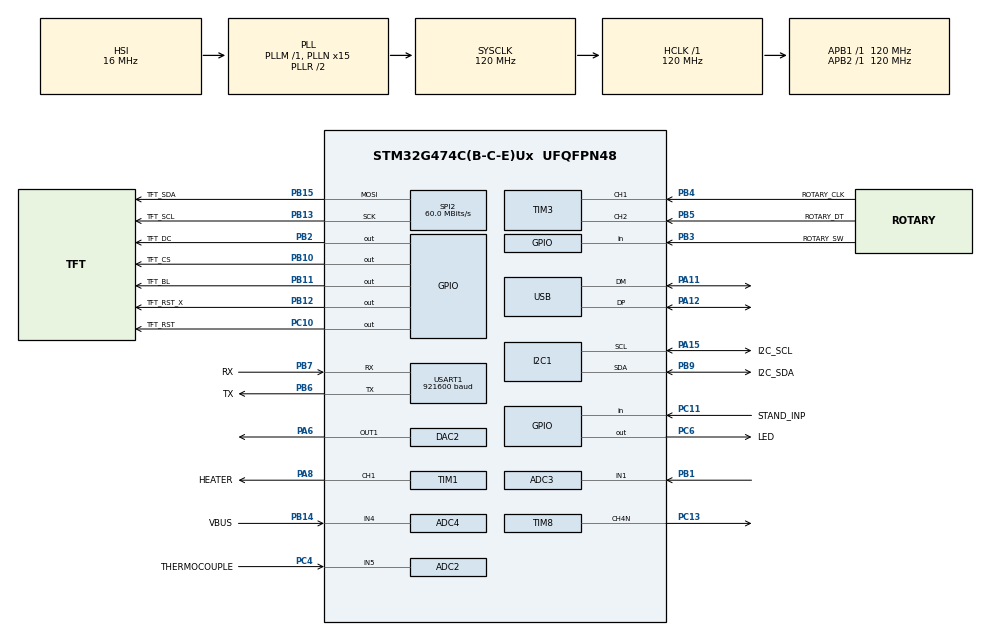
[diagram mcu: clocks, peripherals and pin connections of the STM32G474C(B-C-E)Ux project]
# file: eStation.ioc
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ADC1.Channel-1\#ChannelRegularConversion=ADC_CHANNEL_TEMPSENSOR_ADC1
ADC1.ClockPrescaler=ADC_CLOCK_SYNC_PCLK_DIV4
ADC1.ContinuousConvMode=ENABLE
ADC1.NbrOfConversionFlag=1
ADC1.OffsetNumber-1\#ChannelRegularConversion=ADC_OFFSET_NONE
ADC1.Rank-1\#ChannelRegularConversion=1
ADC1.SamplingTime-1\#ChannelRegularConversion=ADC_SAMPLETIME_2CYCLES_5
ADC1.master=1
ADC2.Channel-1\#ChannelRegularConversion=ADC_CHANNEL_5
ADC2.ClockPrescaler=ADC_CLOCK_SYNC_PCLK_DIV4
ADC2.DMAContinuousRequests=ENABLE
ADC2.ExternalTrigConv=ADC_EXTERNALTRIG_T1_TRGO
ADC2.NbrOfConversionFlag=1
ADC2.OffsetNumber-1\#ChannelRegularConversion=ADC_OFFSET_NONE
ADC2.OversamplingMode=ENABLE
ADC2.OversamplingStopReset=ADC_REGOVERSAMPLING_RESUMED_MODE
ADC2.Rank-1\#ChannelRegularConversion=1
ADC2.Ratio=ADC_OVERSAMPLING_RATIO_16
ADC2.RightBitShift=ADC_RIGHTBITSHIFT_4
ADC2.SamplingTime-1\#ChannelRegularConversion=ADC_SAMPLETIME_247CYCLES_5
ADC3.Channel-1\#ChannelRegularConversion=ADC_CHANNEL_1
ADC3.ClockPrescaler=ADC_CLOCK_SYNC_PCLK_DIV4
ADC3.ContinuousConvMode=ENABLE
ADC3.DMAContinuousRequests=ENABLE
ADC3.NbrOfConversion=1
ADC3.NbrOfConversionFlag=1
ADC3.OffsetNumber-1\#ChannelRegularConversion=ADC_OFFSET_NONE
ADC3.Overrun=ADC_OVR_DATA_OVERWRITTEN
ADC3.OversamplingMode=ENABLE
ADC3.Rank-1\#ChannelRegularConversion=1
ADC3.Ratio=ADC_OVERSAMPLING_RATIO_256
ADC3.RightBitShift=ADC_RIGHTBITSHIFT_8
ADC3.SamplingTime-1\#ChannelRegularConversion=ADC_SAMPLETIME_640CYCLES_5
ADC3.master=1
ADC4.Channel-0\#ChannelRegularConversion=ADC_CHANNEL_4
ADC4.ClockPrescaler=ADC_CLOCK_SYNC_PCLK_DIV4
ADC4.DMAContinuousRequests=ENABLE
ADC4.ExternalTrigConv=ADC_EXTERNALTRIG_T1_TRGO
ADC4.NbrOfConversion=1
ADC4.NbrOfConversionFlag=1
ADC4.OffsetNumber-0\#ChannelRegularConversion=ADC_OFFSET_NONE
ADC4.OversamplingMode=ENABLE
ADC4.Rank-0\#ChannelRegularConversion=1
ADC4.Ratio=ADC_OVERSAMPLING_RATIO_16
ADC4.RightBitShift=ADC_RIGHTBITSHIFT_4
ADC4.SamplingTime-0\#ChannelRegularConversion=ADC_SAMPLETIME_247CYCLES_5
DAC2.DAC_UserTrimming-DAC_OUT1_ExtAndInt=DAC_TRIMMING_USER
Dma.ADC2.1.Direction=DMA_PERIPH_TO_MEMORY
Dma.ADC2.1.EventEnable=DISABLE
Dma.ADC2.1.Instance=DMA1_Channel2
Dma.ADC2.1.MemDataAlignment=DMA_MDATAALIGN_HALFWORD
Dma.ADC2.1.MemInc=DMA_MINC_ENABLE
Dma.ADC2.1.Mode=DMA_CIRCULAR
Dma.ADC2.1.PeriphDataAlignment=DMA_PDATAALIGN_HALFWORD
Dma.ADC2.1.PeriphInc=DMA_PINC_DISABLE
Dma.ADC2.1.Polarity=HAL_DMAMUX_REQ_GEN_RISING
Dma.ADC2.1.Priority=DMA_PRIORITY_LOW
Dma.ADC2.1.RequestNumber=1
Dma.ADC2.1.SignalID=NONE
Dma.ADC2.1.SyncEnable=DISABLE
Dma.ADC2.1.SyncPolarity=HAL_DMAMUX_SYNC_NO_EVENT
Dma.ADC2.1.SyncRequestNumber=1
Dma.ADC2.1.SyncSignalID=NONE
Dma.ADC3.2.Direction=DMA_PERIPH_TO_MEMORY
Dma.ADC3.2.EventEnable=DISABLE
Dma.ADC3.2.Instance=DMA1_Channel3
Dma.ADC3.2.MemDataAlignment=DMA_MDATAALIGN_HALFWORD
Dma.ADC3.2.MemInc=DMA_MINC_ENABLE
Dma.ADC3.2.Mode=DMA_CIRCULAR
Dma.ADC3.2.PeriphDataAlignment=DMA_PDATAALIGN_HALFWORD
Dma.ADC3.2.PeriphInc=DMA_PINC_DISABLE
Dma.ADC3.2.Polarity=HAL_DMAMUX_REQ_GEN_RISING
Dma.ADC3.2.Priority=DMA_PRIORITY_MEDIUM
Dma.ADC3.2.RequestNumber=1
Dma.ADC3.2.SignalID=NONE
Dma.ADC3.2.SyncEnable=DISABLE
Dma.ADC3.2.SyncPolarity=HAL_DMAMUX_SYNC_NO_EVENT
Dma.ADC3.2.SyncRequestNumber=1
Dma.ADC3.2.SyncSignalID=NONE
Dma.ADC4.3.Direction=DMA_PERIPH_TO_MEMORY
Dma.ADC4.3.EventEnable=DISABLE
Dma.ADC4.3.Instance=DMA1_Channel4
Dma.ADC4.3.MemDataAlignment=DMA_MDATAALIGN_HALFWORD
Dma.ADC4.3.MemInc=DMA_MINC_ENABLE
Dma.ADC4.3.Mode=DMA_CIRCULAR
Dma.ADC4.3.PeriphDataAlignment=DMA_PDATAALIGN_HALFWORD
Dma.ADC4.3.PeriphInc=DMA_PINC_DISABLE
Dma.ADC4.3.Polarity=HAL_DMAMUX_REQ_GEN_RISING
Dma.ADC4.3.Priority=DMA_PRIORITY_LOW
Dma.ADC4.3.RequestNumber=1
Dma.ADC4.3.SignalID=NONE
Dma.ADC4.3.SyncEnable=DISABLE
Dma.ADC4.3.SyncPolarity=HAL_DMAMUX_SYNC_NO_EVENT
Dma.ADC4.3.SyncRequestNumber=1
Dma.ADC4.3.SyncSignalID=NONE
Dma.Request0=SPI2_TX
Dma.Request1=ADC2
Dma.Request2=ADC3
Dma.Request3=ADC4
Dma.SPI2_TX.0.Direction=DMA_MEMORY_TO_PERIPH
Dma.SPI2_TX.0.EventEnable=DISABLE
Dma.SPI2_TX.0.Instance=DMA1_Channel1
Dma.SPI2_TX.0.MemDataAlignment=DMA_MDATAALIGN_BYTE
Dma.SPI2_TX.0.MemInc=DMA_MINC_ENABLE
Dma.SPI2_TX.0.Mode=DMA_NORMAL
Dma.SPI2_TX.0.PeriphDataAlignment=DMA_PDATAALIGN_BYTE
Dma.SPI2_TX.0.PeriphInc=DMA_PINC_DISABLE
Dma.SPI2_TX.0.Polarity=HAL_DMAMUX_REQ_GEN_RISING
Dma.SPI2_TX.0.Priority=DMA_PRIORITY_VERY_HIGH
Dma.SPI2_TX.0.RequestNumber=1
Dma.SPI2_TX.0.SignalID=NONE
Dma.SPI2_TX.0.SyncEnable=DISABLE
Dma.SPI2_TX.0.SyncPolarity=HAL_DMAMUX_SYNC_NO_EVENT
Dma.SPI2_TX.0.SyncRequestNumber=1
Dma.SPI2_TX.0.SyncSignalID=NONE
I2C1.Timing=0x30A175AB
Mcu.Family=STM32G4
Mcu.Name=STM32G474C(B-C-E)Ux
Mcu.Package=UFQFPN48
NVIC.DMA1_Channel1_IRQn=true\:5\:0\:true\:false\:true\:false\:true\:true
NVIC.DMA1_Channel2_IRQn=true\:0\:0\:false\:false\:true\:false\:true\:true
NVIC.DMA1_Channel3_IRQn=true\:0\:0\:false\:false\:true\:false\:true\:true
NVIC.DMA1_Channel4_IRQn=true\:0\:0\:false\:false\:true\:false\:true\:true
NVIC.PriorityGroup=NVIC_PRIORITYGROUP_4
NVIC.SPI2_IRQn=true\:5\:0\:true\:false\:true\:true\:true\:true
NVIC.TIM1_TRG_COM_TIM17_IRQn=true\:0\:0\:false\:false\:true\:true\:true\:true
NVIC.TIM1_UP_TIM16_IRQn=true\:0\:0\:false\:false\:true\:true\:true\:true
NVIC.TIM6_DAC_IRQn=true\:0\:0\:false\:false\:true\:true\:true\:true
NVIC.USB_LP_IRQn=true\:7\:0\:true\:false\:true\:false\:true\:true
PA11.Mode=Device
PA11.Signal=USB_DM
PA12.Mode=Device
PA12.Signal=USB_DP
PA15.GPIO_Label=I2C_SCL
PA15.Mode=I2C
PA15.Signal=I2C1_SCL
PA6.Signal=COMP_DAC21_group
PA8.GPIO_Label=HEATER
PA8.GPIO_PuPd=GPIO_PULLDOWN
PA8.Signal=S_TIM1_CH1
PB1.GPIO_Mode=GPIO_MODE_ANALOG
PB1.GPIO_Pd=GPIO_NOPULL
PB1.Mode=IN1-Single-Ended
PB1.Signal=ADC3_IN1
PB10.GPIO_Label=TFT_CS
PB10.GPIO_Speed=GPIO_SPEED_FREQ_VERY_HIGH
PB10.Signal=GPIO_Output
PB11.GPIO_Label=TFT_BL
PB11.GPIO_Speed=GPIO_SPEED_FREQ_VERY_HIGH
PB11.PinState=GPIO_PIN_SET
PB11.Signal=GPIO_Output
PB12.GPIO_Label=TFT_RST_X
PB12.GPIO_Speed=GPIO_SPEED_FREQ_VERY_HIGH
PB12.Signal=GPIO_Output
PB13.GPIO_Label=TFT_SCL
PB13.GPIO_Speed=GPIO_SPEED_FREQ_VERY_HIGH
PB13.Mode=TX_Only_Simplex_Unidirect_Master
PB13.Signal=SPI2_SCK
PB14.GPIO_Label=VBUS
PB14.Mode=IN4-Single-Ended
PB14.Signal=ADC4_IN4
PB15.GPIO_Label=TFT_SDA
PB15.GPIO_Speed=GPIO_SPEED_FREQ_VERY_HIGH
PB15.Mode=TX_Only_Simplex_Unidirect_Master
PB15.Signal=SPI2_MOSI
PB2.GPIO_Label=TFT_DC
PB2.GPIO_Speed=GPIO_SPEED_FREQ_VERY_HIGH
PB2.Signal=GPIO_Output
PB3.GPIO_Label=ROTARY_SW
PB3.Signal=GPIO_Input
PB4.GPIO_Label=ROTARY_CLK
PB4.Signal=S_TIM3_CH1
PB5.GPIO_Label=ROTARY_DT
PB5.Signal=S_TIM3_CH2
PB6.GPIO_Label=TX
PB6.Mode=Asynchronous
PB6.Signal=USART1_TX
PB7.GPIO_Label=RX
PB7.Mode=Asynchronous
PB7.Signal=USART1_RX
PB9.GPIO_Label=I2C_SDA
PB9.Mode=I2C
PB9.Signal=I2C1_SDA
PC10.GPIO_Label=TFT_RST
PC10.GPIO_Speed=GPIO_SPEED_FREQ_VERY_HIGH
PC10.Signal=GPIO_Output
PC11.GPIO_Label=STAND_INP
PC11.Signal=GPIO_Input
PC13.GPIO_PuPd=GPIO_PULLDOWN
PC13.Mode=PWM Generation4 CH4N
PC13.Signal=TIM8_CH4N
PC4.GPIO_Label=THERMOCOUPLE
PC4.GPIO_Mode=GPIO_MODE_ANALOG
PC4.GPIO_Pd=GPIO_NOPULL
PC4.Mode=IN5-Single-Ended
PC4.Signal=ADC2_IN5
PC6.GPIO_Label=LED
PC6.GPIO_PuPd=GPIO_PULLDOWN
PC6.Signal=GPIO_Output
ProjectManager.HeapSize=0x200
ProjectManager.StackSize=0x400
ProjectManager.TargetToolchain=STM32CubeIDE
RCC.ADC12Freq_Value=120000000
RCC.ADC345Freq_Value=120000000
RCC.AHBFreq_Value=120000000
RCC.APB1Freq_Value=120000000
RCC.APB1TimFreq_Value=120000000
RCC.APB2Freq_Value=120000000
RCC.APB2TimFreq_Value=120000000
RCC.CK48CLockSelection=RCC_USBCLKSOURCE_HSI48
RCC.CortexFreq_Value=120000000
RCC.EXTERNAL_CLOCK_VALUE=12288000
RCC.HCLKFreq_Value=120000000
RCC.HSE_VALUE=8000000
RCC.HSI48_VALUE=48000000
RCC.HSI_VALUE=16000000
RCC.LSE_VALUE=32768
RCC.PLLN=15
RCC.PLLQ=RCC_PLLQ_DIV4
RCC.SYSCLKFreq_VALUE=120000000
RCC.SYSCLKSource=RCC_SYSCLKSOURCE_PLLCLK
RCC.USBFreq_Value=48000000
RCC.VCOOutputFreq_Value=240000000
SH.COMP_DAC21_group.0=DAC2_OUT1,DAC_OUT1_ExtAndInt
SH.S_TIM1_CH1.0=TIM1_CH1,PWM Generation1 CH1
SH.S_TIM3_CH1.0=TIM3_CH1,Encoder_Interface
SH.S_TIM3_CH2.0=TIM3_CH2,Encoder_Interface
SPI2.BaudRatePrescaler=SPI_BAUDRATEPRESCALER_2
SPI2.CLKPhase=SPI_PHASE_1EDGE
SPI2.CLKPolarity=SPI_POLARITY_LOW
SPI2.CalculateBaudRate=60.0 MBits/s
SPI2.DataSize=SPI_DATASIZE_8BIT
SPI2.Direction=SPI_DIRECTION_2LINES
SPI2.Mode=SPI_MODE_MASTER
SPI2.VirtualType=VM_MASTER
TIM1.Channel-Output\ Compare2\ No\ Output=TIM_CHANNEL_2
TIM1.Channel-PWM\ Generation1\ CH1=TIM_CHANNEL_1
TIM1.Dithering=Disable
TIM1.OCFastMode_PWM-PWM\ Generation1\ CH1=TIM_OCFAST_ENABLE
TIM1.OCMode_2=TIM_OCMODE_TOGGLE
TIM1.OffStateIDLEMode=TIM_OSSI_ENABLE
TIM1.OffStateRunMode=TIM_OSSR_ENABLE
TIM1.PeriodNoDither=1999
TIM1.Prescaler=119
TIM1.PulseNoDither_2=1800
TIM1.TIM_MasterOutputTrigger=TIM_TRGO_OC2REF
TIM1.TIM_MasterSlaveMode=TIM_MASTERSLAVEMODE_ENABLE
TIM17.AutoReloadPreload=TIM_AUTORELOAD_PRELOAD_ENABLE
TIM17.PeriodNoDither=999
TIM17.Prescaler=11999
TIM3.EncoderMode=TIM_ENCODERMODE_TI1
TIM3.IC1Filter=15
TIM6.PeriodNoDither=999
TIM6.Prescaler=1199
TIM8.AutoReloadPreload=TIM_AUTORELOAD_PRELOAD_ENABLE
TIM8.Channel-PWM\ Generation4\ CH4N=TIM_CHANNEL_4
TIM8.PeriodNoDither=399
TIM8.Prescaler=119
TIM8.PulseNoDither_4=200
USART1.BaudRate=921600
USART1.VirtualMode-Asynchronous=VM_ASYNC
USB_DEVICE.CLASS_NAME_FS=CDC
USB_DEVICE.VirtualMode=Cdc
USB_DEVICE.VirtualModeFS=Cdc_FS
VP_ADC1_TempSens_Input.Mode=IN-TempSens
VP_CRC_VS_CRC.Mode=CRC_Activate
VP_RCC_VS_USB.Mode=USB_FS
VP_SYS_VS_DBSignals.Mode=DisableDeadBatterySignals
VP_TIM17_VS_ClockSourceINT.Mode=Enable_Timer
VP_TIM1_VS_ClockSourceINT.Mode=Internal
VP_TIM1_VS_no_output2.Mode=Output Compare2 No Output
VP_TIM6_VS_ClockSourceINT.Mode=Enable_Timer
VP_USB_DEVICE_VS_USB_DEVICE_CDC_FS.Mode=CDC_FS
board=custom

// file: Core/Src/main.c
/* USER CODE BEGIN Header */
/**
  ******************************************************************************
  * @file           : main.c
  * @brief          : Main program body
  ******************************************************************************
  * @attention
  *
  * Copyright (c) 2026 STMicroelectronics.
  * All rights reserved.
  *
  * This software is licensed under terms that can be found in the LICENSE file
  * in the root directory of this software component.
  * If no LICENSE file comes with this software, it is provided AS-IS.
  *
  ******************************************************************************
  */
/* USER CODE END Header */
#include "main.h"
#include "usb_device.h"

/* USER CODE BEGIN Includes */
#include "solder.h"
/* USER CODE END Includes */

ADC_HandleTypeDef hadc1;
ADC_HandleTypeDef hadc2;
ADC_HandleTypeDef hadc3;
ADC_HandleTypeDef hadc4;
DMA_HandleTypeDef hdma_adc2;
DMA_HandleTypeDef hdma_adc3;
DMA_HandleTypeDef hdma_adc4;

CRC_HandleTypeDef hcrc;

DAC_HandleTypeDef hdac2;

I2C_HandleTypeDef hi2c1;

SPI_HandleTypeDef hspi2;
DMA_HandleTypeDef hdma_spi2_tx;

TIM_HandleTypeDef htim1;
TIM_HandleTypeDef htim3;
TIM_HandleTypeDef htim6;
TIM_HandleTypeDef htim8;
TIM_HandleTypeDef htim17;

UART_HandleTypeDef huart1;

void SystemClock_Config(void);
static void MX_GPIO_Init(void);
static void MX_DMA_Init(void);
static void MX_SPI2_Init(void);
static void MX_TIM3_Init(void);
static void MX_ADC1_Init(void);
static void MX_I2C1_Init(void);
static void MX_USART1_UART_Init(void);
static void MX_CRC_Init(void);
static void MX_ADC2_Init(void);
static void MX_TIM6_Init(void);
static void MX_DAC2_Init(void);
static void MX_ADC3_Init(void);
static void MX_TIM17_Init(void);
static void MX_TIM1_Init(void);
static void MX_ADC4_Init(void);
static void MX_TIM8_Init(void);
/* USER CODE BEGIN PFP */
extern uint16_t ntc_adc_raw[1]; // Buffer cho DMA
/* USER CODE END PFP */

int main(void)
{

  /* USER CODE BEGIN 1 */
  __HAL_RCC_GPIOA_CLK_ENABLE();
  GPIO_InitTypeDef GPIO_InitStruct = {0};
  GPIO_InitStruct.Pin = GPIO_PIN_8;
  GPIO_InitStruct.Mode = GPIO_MODE_OUTPUT_PP;
  GPIO_InitStruct.Pull = GPIO_PULLDOWN;
  GPIO_InitStruct.Speed = GPIO_SPEED_FREQ_LOW;
  HAL_GPIO_Init(GPIOA, &GPIO_InitStruct);
  HAL_GPIO_WritePin(GPIOA, GPIO_PIN_8, GPIO_PIN_RESET); // Ép xuống 0V
  /* USER CODE END 1 */

  /* MCU Configuration--------------------------------------------------------*/

  /* Reset of all peripherals, Initializes the Flash interface and the Systick. */
  HAL_Init();

  /* Configure the system clock */
  SystemClock_Config();

  /* Initialize all configured peripherals */
  MX_GPIO_Init();
  MX_DMA_Init();
  MX_USB_Device_Init();
  MX_SPI2_Init();
  MX_TIM3_Init();
  MX_ADC1_Init();
  MX_I2C1_Init();
  MX_USART1_UART_Init();
  MX_CRC_Init();
  MX_ADC2_Init();
  MX_TIM6_Init();
  MX_DAC2_Init();
  MX_ADC3_Init();
  MX_TIM17_Init();
  MX_TIM1_Init();
  MX_ADC4_Init();
  MX_TIM8_Init();
  /* USER CODE BEGIN 2 */
  solder_init();

  /* USER CODE END 2 */

  /* Infinite loop */
  while (1)
  {

    /* USER CODE BEGIN 3 */
    heartbeat();

    solder_while1();

    HAL_Delay(1);
  }
  /* USER CODE END 3 */
}

void SystemClock_Config(void)
{
  RCC_OscInitTypeDef RCC_OscInitStruct = {0};
  RCC_ClkInitTypeDef RCC_ClkInitStruct = {0};
  RCC_CRSInitTypeDef pInit = {0};

  /** Configure the main internal regulator output voltage
  */
  HAL_PWREx_ControlVoltageScaling(PWR_REGULATOR_VOLTAGE_SCALE1);

  /** Initializes the RCC Oscillators according to the specified parameters
  * in the RCC_OscInitTypeDef structure.
  */
  RCC_OscInitStruct.OscillatorType = RCC_OSCILLATORTYPE_HSI|RCC_OSCILLATORTYPE_HSI48;
  RCC_OscInitStruct.HSIState = RCC_HSI_ON;
  RCC_OscInitStruct.HSICalibrationValue = RCC_HSICALIBRATION_DEFAULT;
  RCC_OscInitStruct.HSI48State = RCC_HSI48_ON;
  RCC_OscInitStruct.PLL.PLLState = RCC_PLL_ON;
  RCC_OscInitStruct.PLL.PLLSource = RCC_PLLSOURCE_HSI;
  RCC_OscInitStruct.PLL.PLLM = RCC_PLLM_DIV1;
  RCC_OscInitStruct.PLL.PLLN = 15;
  RCC_OscInitStruct.PLL.PLLP = RCC_PLLP_DIV2;
  RCC_OscInitStruct.PLL.PLLQ = RCC_PLLQ_DIV4;
  RCC_OscInitStruct.PLL.PLLR = RCC_PLLR_DIV2;
  if (HAL_RCC_OscConfig(&RCC_OscInitStruct) != HAL_OK)
  {
    Error_Handler();
  }

  /** Initializes the CPU, AHB and APB buses clocks
  */
  RCC_ClkInitStruct.ClockType = RCC_CLOCKTYPE_HCLK|RCC_CLOCKTYPE_SYSCLK
                              |RCC_CLOCKTYPE_PCLK1|RCC_CLOCKTYPE_PCLK2;
  RCC_ClkInitStruct.SYSCLKSource = RCC_SYSCLKSOURCE_PLLCLK;
  RCC_ClkInitStruct.AHBCLKDivider = RCC_SYSCLK_DIV1;
  RCC_ClkInitStruct.APB1CLKDivider = RCC_HCLK_DIV1;
  RCC_ClkInitStruct.APB2CLKDivider = RCC_HCLK_DIV1;

  if (HAL_RCC_ClockConfig(&RCC_ClkInitStruct, FLASH_LATENCY_3) != HAL_OK)
  {
    Error_Handler();
  }

  /** Enable the SYSCFG APB clock
  */
  __HAL_RCC_CRS_CLK_ENABLE();

  /** Configures CRS
  */
  pInit.Prescaler = RCC_CRS_SYNC_DIV1;
  pInit.Source = RCC_CRS_SYNC_SOURCE_USB;
  pInit.Polarity = RCC_CRS_SYNC_POLARITY_RISING;
  pInit.ReloadValue = __HAL_RCC_CRS_RELOADVALUE_CALCULATE(48000000,1000);
  pInit.ErrorLimitValue = 34;
  pInit.HSI48CalibrationValue = 32;

  HAL_RCCEx_CRSConfig(&pInit);
}

static void MX_ADC1_Init(void)
{

  ADC_MultiModeTypeDef multimode = {0};
  ADC_ChannelConfTypeDef sConfig = {0};

  /** Common config
  */
  hadc1.Instance = ADC1;
  hadc1.Init.ClockPrescaler = ADC_CLOCK_SYNC_PCLK_DIV4;
  hadc1.Init.Resolution = ADC_RESOLUTION_12B;
  hadc1.Init.DataAlign = ADC_DATAALIGN_RIGHT;
  hadc1.Init.GainCompensation = 0;
  hadc1.Init.ScanConvMode = ADC_SCAN_DISABLE;
  hadc1.Init.EOCSelection = ADC_EOC_SINGLE_CONV;
  hadc1.Init.LowPowerAutoWait = DISABLE;
  hadc1.Init.ContinuousConvMode = ENABLE;
  hadc1.Init.NbrOfConversion = 1;
  hadc1.Init.DiscontinuousConvMode = DISABLE;
  hadc1.Init.ExternalTrigConv = ADC_SOFTWARE_START;
  hadc1.Init.ExternalTrigConvEdge = ADC_EXTERNALTRIGCONVEDGE_NONE;
  hadc1.Init.DMAContinuousRequests = DISABLE;
  hadc1.Init.Overrun = ADC_OVR_DATA_PRESERVED;
  hadc1.Init.OversamplingMode = DISABLE;
  if (HAL_ADC_Init(&hadc1) != HAL_OK)
  {
    Error_Handler();
  }

  /** Configure the ADC multi-mode
  */
  multimode.Mode = ADC_MODE_INDEPENDENT;
  if (HAL_ADCEx_MultiModeConfigChannel(&hadc1, &multimode) != HAL_OK)
  {
    Error_Handler();
  }

  /** Configure Regular Channel
  */
  sConfig.Channel = ADC_CHANNEL_TEMPSENSOR_ADC1;
  sConfig.Rank = ADC_REGULAR_RANK_1;
  sConfig.SamplingTime = ADC_SAMPLETIME_2CYCLES_5;
  sConfig.SingleDiff = ADC_SINGLE_ENDED;
  sConfig.OffsetNumber = ADC_OFFSET_NONE;
  sConfig.Offset = 0;
  if (HAL_ADC_ConfigChannel(&hadc1, &sConfig) != HAL_OK)
  {
    Error_Handler();
  }

}

static void MX_ADC2_Init(void)
{

  ADC_ChannelConfTypeDef sConfig = {0};

  /** Common config
  */
  hadc2.Instance = ADC2;
  hadc2.Init.ClockPrescaler = ADC_CLOCK_SYNC_PCLK_DIV4;
  hadc2.Init.Resolution = ADC_RESOLUTION_12B;
  hadc2.Init.DataAlign = ADC_DATAALIGN_RIGHT;
  hadc2.Init.GainCompensation = 0;
  hadc2.Init.ScanConvMode = ADC_SCAN_DISABLE;
  hadc2.Init.EOCSelection = ADC_EOC_SINGLE_CONV;
  hadc2.Init.LowPowerAutoWait = DISABLE;
  hadc2.Init.ContinuousConvMode = DISABLE;
  hadc2.Init.NbrOfConversion = 1;
  hadc2.Init.DiscontinuousConvMode = DISABLE;
  hadc2.Init.ExternalTrigConv = ADC_EXTERNALTRIG_T1_TRGO;
  hadc2.Init.ExternalTrigConvEdge = ADC_EXTERNALTRIGCONVEDGE_RISING;
  hadc2.Init.DMAContinuousRequests = ENABLE;
  hadc2.Init.Overrun = ADC_OVR_DATA_PRESERVED;
  hadc2.Init.OversamplingMode = ENABLE;
  hadc2.Init.Oversampling.Ratio = ADC_OVERSAMPLING_RATIO_16;
  hadc2.Init.Oversampling.RightBitShift = ADC_RIGHTBITSHIFT_4;
  hadc2.Init.Oversampling.TriggeredMode = ADC_TRIGGEREDMODE_SINGLE_TRIGGER;
  hadc2.Init.Oversampling.OversamplingStopReset = ADC_REGOVERSAMPLING_RESUMED_MODE;
  if (HAL_ADC_Init(&hadc2) != HAL_OK)
  {
    Error_Handler();
  }

  /** Configure Regular Channel
  */
  sConfig.Channel = ADC_CHANNEL_5;
  sConfig.Rank = ADC_REGULAR_RANK_1;
  sConfig.SamplingTime = ADC_SAMPLETIME_247CYCLES_5;
  sConfig.SingleDiff = ADC_SINGLE_ENDED;
  sConfig.OffsetNumber = ADC_OFFSET_NONE;
  sConfig.Offset = 0;
  if (HAL_ADC_ConfigChannel(&hadc2, &sConfig) != HAL_OK)
  {
    Error_Handler();
  }

}

static void MX_ADC3_Init(void)
{

  ADC_MultiModeTypeDef multimode = {0};
  ADC_ChannelConfTypeDef sConfig = {0};

  /** Common config
  */
  hadc3.Instance = ADC3;
  hadc3.Init.ClockPrescaler = ADC_CLOCK_SYNC_PCLK_DIV4;
  hadc3.Init.Resolution = ADC_RESOLUTION_12B;
  hadc3.Init.DataAlign = ADC_DATAALIGN_RIGHT;
  hadc3.Init.GainCompensation = 0;
  hadc3.Init.ScanConvMode = ADC_SCAN_DISABLE;
  hadc3.Init.EOCSelection = ADC_EOC_SINGLE_CONV;
  hadc3.Init.LowPowerAutoWait = DISABLE;
  hadc3.Init.ContinuousConvMode = ENABLE;
  hadc3.Init.NbrOfConversion = 1;
  hadc3.Init.DiscontinuousConvMode = DISABLE;
  hadc3.Init.ExternalTrigConv = ADC_SOFTWARE_START;
  hadc3.Init.ExternalTrigConvEdge = ADC_EXTERNALTRIGCONVEDGE_NONE;
  hadc3.Init.DMAContinuousRequests = ENABLE;
  hadc3.Init.Overrun = ADC_OVR_DATA_OVERWRITTEN;
  hadc3.Init.OversamplingMode = ENABLE;
  hadc3.Init.Oversampling.Ratio = ADC_OVERSAMPLING_RATIO_256;
  hadc3.Init.Oversampling.RightBitShift = ADC_RIGHTBITSHIFT_8;
  hadc3.Init.Oversampling.TriggeredMode = ADC_TRIGGEREDMODE_SINGLE_TRIGGER;
  hadc3.Init.Oversampling.OversamplingStopReset = ADC_REGOVERSAMPLING_CONTINUED_MODE;
  if (HAL_ADC_Init(&hadc3) != HAL_OK)
  {
    Error_Handler();
  }

  /** Configure the ADC multi-mode
  */
  multimode.Mode = ADC_MODE_INDEPENDENT;
  if (HAL_ADCEx_MultiModeConfigChannel(&hadc3, &multimode) != HAL_OK)
  {
    Error_Handler();
  }

  /** Configure Regular Channel
  */
  sConfig.Channel = ADC_CHANNEL_1;
  sConfig.Rank = ADC_REGULAR_RANK_1;
  sConfig.SamplingTime = ADC_SAMPLETIME_640CYCLES_5;
  sConfig.SingleDiff = ADC_SINGLE_ENDED;
  sConfig.OffsetNumber = ADC_OFFSET_NONE;
  sConfig.Offset = 0;
  if (HAL_ADC_ConfigChannel(&hadc3, &sConfig) != HAL_OK)
  {
    Error_Handler();
  }

}

static void MX_ADC4_Init(void)
{

  ADC_ChannelConfTypeDef sConfig = {0};

  /** Common config
  */
  hadc4.Instance = ADC4;
  hadc4.Init.ClockPrescaler = ADC_CLOCK_SYNC_PCLK_DIV4;
  hadc4.Init.Resolution = ADC_RESOLUTION_12B;
  hadc4.Init.DataAlign = ADC_DATAALIGN_RIGHT;
  hadc4.Init.GainCompensation = 0;
  hadc4.Init.ScanConvMode = ADC_SCAN_DISABLE;
  hadc4.Init.EOCSelection = ADC_EOC_SINGLE_CONV;
  hadc4.Init.LowPowerAutoWait = DISABLE;
  hadc4.Init.ContinuousConvMode = DISABLE;
  hadc4.Init.NbrOfConversion = 1;
  hadc4.Init.DiscontinuousConvMode = DISABLE;
  hadc4.Init.ExternalTrigConv = ADC_EXTERNALTRIG_T1_TRGO;
  hadc4.Init.ExternalTrigConvEdge = ADC_EXTERNALTRIGCONVEDGE_RISING;
  hadc4.Init.DMAContinuousRequests = ENABLE;
  hadc4.Init.Overrun = ADC_OVR_DATA_PRESERVED;
  hadc4.Init.OversamplingMode = ENABLE;
  hadc4.Init.Oversampling.Ratio = ADC_OVERSAMPLING_RATIO_16;
  hadc4.Init.Oversampling.RightBitShift = ADC_RIGHTBITSHIFT_4;
  hadc4.Init.Oversampling.TriggeredMode = ADC_TRIGGEREDMODE_SINGLE_TRIGGER;
  hadc4.Init.Oversampling.OversamplingStopReset = ADC_REGOVERSAMPLING_CONTINUED_MODE;
  if (HAL_ADC_Init(&hadc4) != HAL_OK)
  {
    Error_Handler();
  }

  /** Configure Regular Channel
  */
  sConfig.Channel = ADC_CHANNEL_4;
  sConfig.Rank = ADC_REGULAR_RANK_1;
  sConfig.SamplingTime = ADC_SAMPLETIME_247CYCLES_5;
  sConfig.SingleDiff = ADC_SINGLE_ENDED;
  sConfig.OffsetNumber = ADC_OFFSET_NONE;
  sConfig.Offset = 0;
  if (HAL_ADC_ConfigChannel(&hadc4, &sConfig) != HAL_OK)
  {
    Error_Handler();
  }

}

static void MX_CRC_Init(void)
{

  hcrc.Instance = CRC;
  hcrc.Init.DefaultPolynomialUse = DEFAULT_POLYNOMIAL_ENABLE;
  hcrc.Init.DefaultInitValueUse = DEFAULT_INIT_VALUE_ENABLE;
  hcrc.Init.InputDataInversionMode = CRC_INPUTDATA_INVERSION_NONE;
  hcrc.Init.OutputDataInversionMode = CRC_OUTPUTDATA_INVERSION_DISABLE;
  hcrc.InputDataFormat = CRC_INPUTDATA_FORMAT_BYTES;
  if (HAL_CRC_Init(&hcrc) != HAL_OK)
  {
    Error_Handler();
  }

}

static void MX_DAC2_Init(void)
{

  DAC_ChannelConfTypeDef sConfig = {0};

  /** DAC Initialization
  */
  hdac2.Instance = DAC2;
  if (HAL_DAC_Init(&hdac2) != HAL_OK)
  {
    Error_Handler();
  }

  /** DAC channel OUT1 config
  */
  sConfig.DAC_HighFrequency = DAC_HIGH_FREQUENCY_INTERFACE_MODE_AUTOMATIC;
  sConfig.DAC_DMADoubleDataMode = DISABLE;
  sConfig.DAC_SignedFormat = DISABLE;
  sConfig.DAC_SampleAndHold = DAC_SAMPLEANDHOLD_DISABLE;
  sConfig.DAC_Trigger = DAC_TRIGGER_NONE;
  sConfig.DAC_Trigger2 = DAC_TRIGGER_NONE;
  sConfig.DAC_OutputBuffer = DAC_OUTPUTBUFFER_ENABLE;
  sConfig.DAC_ConnectOnChipPeripheral = DAC_CHIPCONNECT_BOTH;
  sConfig.DAC_UserTrimming = DAC_TRIMMING_USER;
  sConfig.DAC_TrimmingValue = 1;
  if (HAL_DAC_ConfigChannel(&hdac2, &sConfig, DAC_CHANNEL_1) != HAL_OK)
  {
    Error_Handler();
  }
  /* USER CODE BEGIN DAC2_Init 2 */
  // Thực hiện tự hiệu chuẩn
  if (HAL_DACEx_SelfCalibrate(&hdac2, &sConfig, DAC_CHANNEL_1) != HAL_OK)
  {
    Error_Handler();
  }
  /* USER CODE END DAC2_Init 2 */

}

static void MX_I2C1_Init(void)
{

  hi2c1.Instance = I2C1;
  hi2c1.Init.Timing = 0x30A175AB;
  hi2c1.Init.OwnAddress1 = 0;
  hi2c1.Init.AddressingMode = I2C_ADDRESSINGMODE_7BIT;
  hi2c1.Init.DualAddressMode = I2C_DUALADDRESS_DISABLE;
  hi2c1.Init.OwnAddress2 = 0;
  hi2c1.Init.OwnAddress2Masks = I2C_OA2_NOMASK;
  hi2c1.Init.GeneralCallMode = I2C_GENERALCALL_DISABLE;
  hi2c1.Init.NoStretchMode = I2C_NOSTRETCH_DISABLE;
  if (HAL_I2C_Init(&hi2c1) != HAL_OK)
  {
    Error_Handler();
  }

  /** Configure Analogue filter
  */
  if (HAL_I2CEx_ConfigAnalogFilter(&hi2c1, I2C_ANALOGFILTER_ENABLE) != HAL_OK)
  {
    Error_Handler();
  }

  /** Configure Digital filter
  */
  if (HAL_I2CEx_ConfigDigitalFilter(&hi2c1, 0) != HAL_OK)
  {
    Error_Handler();
  }

}

static void MX_SPI2_Init(void)
{

  /* SPI2 parameter configuration*/
  hspi2.Instance = SPI2;
  hspi2.Init.Mode = SPI_MODE_MASTER;
  hspi2.Init.Direction = SPI_DIRECTION_2LINES;
  hspi2.Init.DataSize = SPI_DATASIZE_8BIT;
  hspi2.Init.CLKPolarity = SPI_POLARITY_LOW;
  hspi2.Init.CLKPhase = SPI_PHASE_1EDGE;
  hspi2.Init.NSS = SPI_NSS_SOFT;
  hspi2.Init.BaudRatePrescaler = SPI_BAUDRATEPRESCALER_2;
  hspi2.Init.FirstBit = SPI_FIRSTBIT_MSB;
  hspi2.Init.TIMode = SPI_TIMODE_DISABLE;
  hspi2.Init.CRCCalculation = SPI_CRCCALCULATION_DISABLE;
  hspi2.Init.CRCPolynomial = 7;
  hspi2.Init.CRCLength = SPI_CRC_LENGTH_DATASIZE;
  hspi2.Init.NSSPMode = SPI_NSS_PULSE_ENABLE;
  if (HAL_SPI_Init(&hspi2) != HAL_OK)
  {
    Error_Handler();
  }

}

static void MX_TIM1_Init(void)
{

  TIM_ClockConfigTypeDef sClockSourceConfig = {0};
  TIM_MasterConfigTypeDef sMasterConfig = {0};
  TIM_OC_InitTypeDef sConfigOC = {0};
  TIM_BreakDeadTimeConfigTypeDef sBreakDeadTimeConfig = {0};

  htim1.Instance = TIM1;
  htim1.Init.Prescaler = 119;
  htim1.Init.CounterMode = TIM_COUNTERMODE_UP;
  htim1.Init.Period = 1999;
  htim1.Init.ClockDivision = TIM_CLOCKDIVISION_DIV1;
  htim1.Init.RepetitionCounter = 0;
  htim1.Init.AutoReloadPreload = TIM_AUTORELOAD_PRELOAD_DISABLE;
  if (HAL_TIM_Base_Init(&htim1) != HAL_OK)
  {
    Error_Handler();
  }
  sClockSourceConfig.ClockSource = TIM_CLOCKSOURCE_INTERNAL;
  if (HAL_TIM_ConfigClockSource(&htim1, &sClockSourceConfig) != HAL_OK)
  {
    Error_Handler();
  }
  if (HAL_TIM_PWM_Init(&htim1) != HAL_OK)
  {
    Error_Handler();
  }
  if (HAL_TIM_OC_Init(&htim1) != HAL_OK)
  {
    Error_Handler();
  }
  sMasterConfig.MasterOutputTrigger = TIM_TRGO_OC2REF;
  sMasterConfig.MasterOutputTrigger2 = TIM_TRGO2_RESET;
  sMasterConfig.MasterSlaveMode = TIM_MASTERSLAVEMODE_ENABLE;
  if (HAL_TIMEx_MasterConfigSynchronization(&htim1, &sMasterConfig) != HAL_OK)
  {
    Error_Handler();
  }
  sConfigOC.OCMode = TIM_OCMODE_PWM1;
  sConfigOC.Pulse = 0;
  sConfigOC.OCPolarity = TIM_OCPOLARITY_HIGH;
  sConfigOC.OCNPolarity = TIM_OCNPOLARITY_HIGH;
  sConfigOC.OCFastMode = TIM_OCFAST_ENABLE;
  sConfigOC.OCIdleState = TIM_OCIDLESTATE_RESET;
  sConfigOC.OCNIdleState = TIM_OCNIDLESTATE_RESET;
  if (HAL_TIM_PWM_ConfigChannel(&htim1, &sConfigOC, TIM_CHANNEL_1) != HAL_OK)
  {
    Error_Handler();
  }
  sConfigOC.OCMode = TIM_OCMODE_TOGGLE;
  sConfigOC.Pulse = 1800;
  sConfigOC.OCFastMode = TIM_OCFAST_DISABLE;
  if (HAL_TIM_OC_ConfigChannel(&htim1, &sConfigOC, TIM_CHANNEL_2) != HAL_OK)
  {
    Error_Handler();
  }
  sBreakDeadTimeConfig.OffStateRunMode = TIM_OSSR_ENABLE;
  sBreakDeadTimeConfig.OffStateIDLEMode = TIM_OSSI_ENABLE;
  sBreakDeadTimeConfig.LockLevel = TIM_LOCKLEVEL_OFF;
  sBreakDeadTimeConfig.DeadTime = 0;
  sBreakDeadTimeConfig.BreakState = TIM_BREAK_DISABLE;
  sBreakDeadTimeConfig.BreakPolarity = TIM_BREAKPOLARITY_HIGH;
  sBreakDeadTimeConfig.BreakFilter = 0;
  sBreakDeadTimeConfig.BreakAFMode = TIM_BREAK_AFMODE_INPUT;
  sBreakDeadTimeConfig.Break2State = TIM_BREAK2_DISABLE;
  sBreakDeadTimeConfig.Break2Polarity = TIM_BREAK2POLARITY_HIGH;
  sBreakDeadTimeConfig.Break2Filter = 0;
  sBreakDeadTimeConfig.Break2AFMode = TIM_BREAK_AFMODE_INPUT;
  sBreakDeadTimeConfig.AutomaticOutput = TIM_AUTOMATICOUTPUT_DISABLE;
  if (HAL_TIMEx_ConfigBreakDeadTime(&htim1, &sBreakDeadTimeConfig) != HAL_OK)
  {
    Error_Handler();
  }
  HAL_TIM_MspPostInit(&htim1);

}

static void MX_TIM3_Init(void)
{

  TIM_Encoder_InitTypeDef sConfig = {0};
  TIM_MasterConfigTypeDef sMasterConfig = {0};

  htim3.Instance = TIM3;
  htim3.Init.Prescaler = 0;
  htim3.Init.CounterMode = TIM_COUNTERMODE_UP;
  htim3.Init.Period = 65535;
  htim3.Init.ClockDivision = TIM_CLOCKDIVISION_DIV1;
  htim3.Init.AutoReloadPreload = TIM_AUTORELOAD_PRELOAD_DISABLE;
  sConfig.EncoderMode = TIM_ENCODERMODE_TI1;
  sConfig.IC1Polarity = TIM_ICPOLARITY_RISING;
  sConfig.IC1Selection = TIM_ICSELECTION_DIRECTTI;
  sConfig.IC1Prescaler = TIM_ICPSC_DIV1;
  sConfig.IC1Filter = 15;
  sConfig.IC2Polarity = TIM_ICPOLARITY_RISING;
  sConfig.IC2Selection = TIM_ICSELECTION_DIRECTTI;
  sConfig.IC2Prescaler = TIM_ICPSC_DIV1;
  sConfig.IC2Filter = 0;
  if (HAL_TIM_Encoder_Init(&htim3, &sConfig) != HAL_OK)
  {
    Error_Handler();
  }
  sMasterConfig.MasterOutputTrigger = TIM_TRGO_RESET;
  sMasterConfig.MasterSlaveMode = TIM_MASTERSLAVEMODE_DISABLE;
  if (HAL_TIMEx_MasterConfigSynchronization(&htim3, &sMasterConfig) != HAL_OK)
  {
    Error_Handler();
  }

}

static void MX_TIM6_Init(void)
{

  TIM_MasterConfigTypeDef sMasterConfig = {0};

  htim6.Instance = TIM6;
  htim6.Init.Prescaler = 1199;
  htim6.Init.CounterMode = TIM_COUNTERMODE_UP;
  htim6.Init.Period = 999;
  htim6.Init.AutoReloadPreload = TIM_AUTORELOAD_PRELOAD_DISABLE;
  if (HAL_TIM_Base_Init(&htim6) != HAL_OK)
  {
    Error_Handler();
  }
  sMasterConfig.MasterOutputTrigger = TIM_TRGO_RESET;
  sMasterConfig.MasterSlaveMode = TIM_MASTERSLAVEMODE_DISABLE;
  if (HAL_TIMEx_MasterConfigSynchronization(&htim6, &sMasterConfig) != HAL_OK)
  {
    Error_Handler();
  }

}

static void MX_TIM8_Init(void)
{

  TIM_MasterConfigTypeDef sMasterConfig = {0};
  TIM_OC_InitTypeDef sConfigOC = {0};
  TIM_BreakDeadTimeConfigTypeDef sBreakDeadTimeConfig = {0};

  htim8.Instance = TIM8;
  htim8.Init.Prescaler = 119;
  htim8.Init.CounterMode = TIM_COUNTERMODE_UP;
  htim8.Init.Period = 399;
  htim8.Init.ClockDivision = TIM_CLOCKDIVISION_DIV1;
  htim8.Init.RepetitionCounter = 0;
  htim8.Init.AutoReloadPreload = TIM_AUTORELOAD_PRELOAD_ENABLE;
  if (HAL_TIM_PWM_Init(&htim8) != HAL_OK)
  {
    Error_Handler();
  }
  sMasterConfig.MasterOutputTrigger = TIM_TRGO_RESET;
  sMasterConfig.MasterOutputTrigger2 = TIM_TRGO2_RESET;
  sMasterConfig.MasterSlaveMode = TIM_MASTERSLAVEMODE_DISABLE;
  if (HAL_TIMEx_MasterConfigSynchronization(&htim8, &sMasterConfig) != HAL_OK)
  {
    Error_Handler();
  }
  sConfigOC.OCMode = TIM_OCMODE_PWM1;
  sConfigOC.Pulse = 200;
  sConfigOC.OCPolarity = TIM_OCPOLARITY_HIGH;
  sConfigOC.OCNPolarity = TIM_OCNPOLARITY_HIGH;
  sConfigOC.OCFastMode = TIM_OCFAST_DISABLE;
  sConfigOC.OCIdleState = TIM_OCIDLESTATE_RESET;
  sConfigOC.OCNIdleState = TIM_OCNIDLESTATE_RESET;
  if (HAL_TIM_PWM_ConfigChannel(&htim8, &sConfigOC, TIM_CHANNEL_4) != HAL_OK)
  {
    Error_Handler();
  }
  sBreakDeadTimeConfig.OffStateRunMode = TIM_OSSR_DISABLE;
  sBreakDeadTimeConfig.OffStateIDLEMode = TIM_OSSI_DISABLE;
  sBreakDeadTimeConfig.LockLevel = TIM_LOCKLEVEL_OFF;
  sBreakDeadTimeConfig.DeadTime = 0;
  sBreakDeadTimeConfig.BreakState = TIM_BREAK_DISABLE;
  sBreakDeadTimeConfig.BreakPolarity = TIM_BREAKPOLARITY_HIGH;
  sBreakDeadTimeConfig.BreakFilter = 0;
  sBreakDeadTimeConfig.BreakAFMode = TIM_BREAK_AFMODE_INPUT;
  sBreakDeadTimeConfig.Break2State = TIM_BREAK2_DISABLE;
  sBreakDeadTimeConfig.Break2Polarity = TIM_BREAK2POLARITY_HIGH;
  sBreakDeadTimeConfig.Break2Filter = 0;
  sBreakDeadTimeConfig.Break2AFMode = TIM_BREAK_AFMODE_INPUT;
  sBreakDeadTimeConfig.AutomaticOutput = TIM_AUTOMATICOUTPUT_DISABLE;
  if (HAL_TIMEx_ConfigBreakDeadTime(&htim8, &sBreakDeadTimeConfig) != HAL_OK)
  {
    Error_Handler();
  }
  HAL_TIM_MspPostInit(&htim8);

}

static void MX_TIM17_Init(void)
{

  htim17.Instance = TIM17;
  htim17.Init.Prescaler = 11999;
  htim17.Init.CounterMode = TIM_COUNTERMODE_UP;
  htim17.Init.Period = 999;
  htim17.Init.ClockDivision = TIM_CLOCKDIVISION_DIV1;
  htim17.Init.RepetitionCounter = 0;
  htim17.Init.AutoReloadPreload = TIM_AUTORELOAD_PRELOAD_ENABLE;
  if (HAL_TIM_Base_Init(&htim17) != HAL_OK)
  {
    Error_Handler();
  }

}

static void MX_USART1_UART_Init(void)
{

  huart1.Instance = USART1;
  huart1.Init.BaudRate = 921600;
  huart1.Init.WordLength = UART_WORDLENGTH_8B;
  huart1.Init.StopBits = UART_STOPBITS_1;
  huart1.Init.Parity = UART_PARITY_NONE;
  huart1.Init.Mode = UART_MODE_TX_RX;
  huart1.Init.HwFlowCtl = UART_HWCONTROL_NONE;
  huart1.Init.OverSampling = UART_OVERSAMPLING_16;
  huart1.Init.OneBitSampling = UART_ONE_BIT_SAMPLE_DISABLE;
  huart1.Init.ClockPrescaler = UART_PRESCALER_DIV1;
  huart1.AdvancedInit.AdvFeatureInit = UART_ADVFEATURE_NO_INIT;
  if (HAL_UART_Init(&huart1) != HAL_OK)
  {
    Error_Handler();
  }
  if (HAL_UARTEx_SetTxFifoThreshold(&huart1, UART_TXFIFO_THRESHOLD_1_8) != HAL_OK)
  {
    Error_Handler();
  }
  if (HAL_UARTEx_SetRxFifoThreshold(&huart1, UART_RXFIFO_THRESHOLD_1_8) != HAL_OK)
  {
    Error_Handler();
  }
  if (HAL_UARTEx_DisableFifoMode(&huart1) != HAL_OK)
  {
    Error_Handler();
  }

}

static void MX_DMA_Init(void)
{

  /* DMA controller clock enable */
  __HAL_RCC_DMAMUX1_CLK_ENABLE();
  __HAL_RCC_DMA1_CLK_ENABLE();

  /* DMA interrupt init */
  /* DMA1_Channel1_IRQn interrupt configuration */
  HAL_NVIC_SetPriority(DMA1_Channel1_IRQn, 5, 0);
  HAL_NVIC_EnableIRQ(DMA1_Channel1_IRQn);
  /* DMA1_Channel2_IRQn interrupt configuration */
  HAL_NVIC_SetPriority(DMA1_Channel2_IRQn, 0, 0);
  HAL_NVIC_EnableIRQ(DMA1_Channel2_IRQn);
  /* DMA1_Channel3_IRQn interrupt configuration */
  HAL_NVIC_SetPriority(DMA1_Channel3_IRQn, 0, 0);
  HAL_NVIC_EnableIRQ(DMA1_Channel3_IRQn);
  /* DMA1_Channel4_IRQn interrupt configuration */
  HAL_NVIC_SetPriority(DMA1_Channel4_IRQn, 0, 0);
  HAL_NVIC_EnableIRQ(DMA1_Channel4_IRQn);

}

static void MX_GPIO_Init(void)
{
  GPIO_InitTypeDef GPIO_InitStruct = {0};

  /* GPIO Ports Clock Enable */
  __HAL_RCC_GPIOC_CLK_ENABLE();
  __HAL_RCC_GPIOA_CLK_ENABLE();
  __HAL_RCC_GPIOB_CLK_ENABLE();

  /*Configure GPIO pin Output Level */
  HAL_GPIO_WritePin(GPIOB, TFT_DC_Pin|TFT_CS_Pin|TFT_RST_X_Pin, GPIO_PIN_RESET);

  /*Configure GPIO pin Output Level */
  HAL_GPIO_WritePin(TFT_BL_GPIO_Port, TFT_BL_Pin, GPIO_PIN_SET);

  /*Configure GPIO pin Output Level */
  HAL_GPIO_WritePin(GPIOC, LED_Pin|TFT_RST_Pin, GPIO_PIN_RESET);

  /*Configure GPIO pins : TFT_DC_Pin TFT_CS_Pin TFT_BL_Pin TFT_RST_X_Pin */
  GPIO_InitStruct.Pin = TFT_DC_Pin|TFT_CS_Pin|TFT_BL_Pin|TFT_RST_X_Pin;
  GPIO_InitStruct.Mode = GPIO_MODE_OUTPUT_PP;
  GPIO_InitStruct.Pull = GPIO_NOPULL;
  GPIO_InitStruct.Speed = GPIO_SPEED_FREQ_VERY_HIGH;
  HAL_GPIO_Init(GPIOB, &GPIO_InitStruct);

  /*Configure GPIO pin : LED_Pin */
  GPIO_InitStruct.Pin = LED_Pin;
  GPIO_InitStruct.Mode = GPIO_MODE_OUTPUT_PP;
  GPIO_InitStruct.Pull = GPIO_PULLDOWN;
  GPIO_InitStruct.Speed = GPIO_SPEED_FREQ_LOW;
  HAL_GPIO_Init(LED_GPIO_Port, &GPIO_InitStruct);

  /*Configure GPIO pin : TFT_RST_Pin */
  GPIO_InitStruct.Pin = TFT_RST_Pin;
  GPIO_InitStruct.Mode = GPIO_MODE_OUTPUT_PP;
  GPIO_InitStruct.Pull = GPIO_NOPULL;
  GPIO_InitStruct.Speed = GPIO_SPEED_FREQ_VERY_HIGH;
  HAL_GPIO_Init(TFT_RST_GPIO_Port, &GPIO_InitStruct);

  /*Configure GPIO pin : STAND_INP_Pin */
  GPIO_InitStruct.Pin = STAND_INP_Pin;
  GPIO_InitStruct.Mode = GPIO_MODE_INPUT;
  GPIO_InitStruct.Pull = GPIO_NOPULL;
  HAL_GPIO_Init(STAND_INP_GPIO_Port, &GPIO_InitStruct);

  /*Configure GPIO pin : ROTARY_SW_Pin */
  GPIO_InitStruct.Pin = ROTARY_SW_Pin;
  GPIO_InitStruct.Mode = GPIO_MODE_INPUT;
  GPIO_InitStruct.Pull = GPIO_NOPULL;
  HAL_GPIO_Init(ROTARY_SW_GPIO_Port, &GPIO_InitStruct);

}

void Error_Handler(void)
{
  __disable_irq();
  while (1)
  {
  }
}
